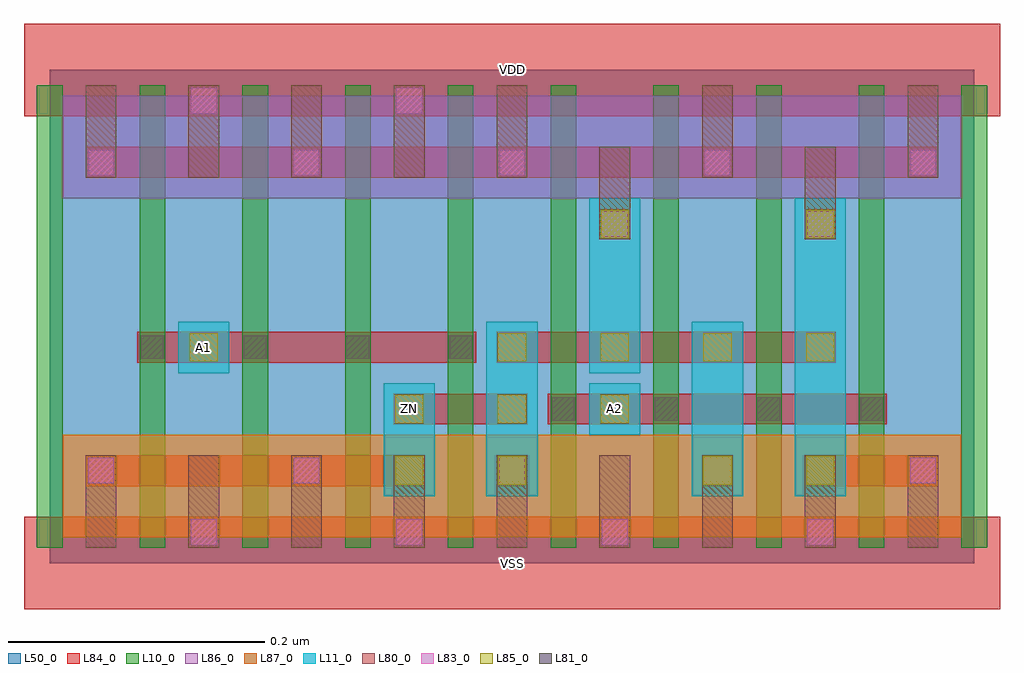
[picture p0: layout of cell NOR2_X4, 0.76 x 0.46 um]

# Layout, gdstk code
import gdstk
lib = gdstk.Library(unit=1e-6, precision=1e-09)
def R(c, l, rs):  # rectangles x0, y0, x1, y1
    for r in rs: c.add(gdstk.rectangle(r[:2], r[2:], *l))
def A(c, l, x, y, w, h, nx, ny, dx, dy):  # array of equal rectangles
    R(c, l, [(x+i*dx, y+j*dy, x+i*dx+w, y+j*dy+h) for i in range(nx) for j in range(ny)])
L10_0 = (10, 0)
L11_0 = (11, 0)
L50_0 = (50, 0)
L80_0 = (80, 0)
L81_0 = (81, 0)
L83_0 = (83, 0)
L84_0 = (84, 0)
L85_0 = (85, 0)
L86_0 = (86, 0)
L87_0 = (87, 0)

nor2_x4 = lib.new_cell('NOR2_X4')
A(nor2_x4, L10_0, -0.01, 0.012, 0.02, 0.36, 10, 1, 0.08, 0)
R(nor2_x4, L11_0, [(0.26,0.052,0.3,0.14), (0.34,0.052,0.38,0.188), (0.5,0.052,0.54,0.188), (0.58,0.052,0.62,0.284), (0.42,0.1,0.46,0.14), (0.1,0.148,0.14,0.188), (0.42,0.148,0.46,0.284)])
R(nor2_x4, L50_0, [(0,0,0.72,0.384)])
A(nor2_x4, L80_0, 0.028, 0.012, 0.024, 0.072, 9, 1, 0.08, 0)
A(nor2_x4, L80_0, 0.028, 0.3, 0.024, 0.072, 5, 1, 0.08, 0)
R(nor2_x4, L80_0, [(0.428,0.252,0.452,0.324), (0.588,0.252,0.612,0.324), (0.508,0.3,0.532,0.372), (0.668,0.3,0.692,0.372)])
A(nor2_x4, L81_0, 0.391, 0.111, 0.018, 0.018, 4, 1, 0.08, 0)
A(nor2_x4, L81_0, 0.071, 0.159, 0.018, 0.018, 4, 1, 0.08, 0)
A(nor2_x4, L83_0, 0.11, 0.014, 0.02, 0.02, 4, 1, 0.16, 0)
A(nor2_x4, L83_0, 0.03, 0.062, 0.02, 0.02, 5, 2, 0.16, 0.24)
R(nor2_x4, L83_0, [(0.43,0.254,0.45,0.274), (0.59,0.254,0.61,0.274), (0.11,0.35,0.13,0.37), (0.27,0.35,0.29,0.37)])
R(nor2_x4, L84_0, [(-0.02,-0.036,0.74,0.036), (0.028,0.06,0.292,0.084), (0.348,0.06,0.372,0.084), (0.508,0.06,0.532,0.084), (0.588,0.06,0.692,0.084), (0.268,0.108,0.372,0.132), (0.388,0.108,0.652,0.132), (0.068,0.156,0.332,0.18), (0.348,0.156,0.612,0.18), (0.428,0.252,0.452,0.276), (0.588,0.252,0.612,0.276), (0.028,0.3,0.692,0.324), (-0.02,0.348,0.74,0.42)])
A(nor2_x4, L85_0, 0.269, 0.109, 0.022, 0.022, 3, 1, 0.08, 0)
A(nor2_x4, L85_0, 0.349, 0.157, 0.022, 0.022, 4, 1, 0.08, 0)
R(nor2_x4, L85_0, [(0.269,0.061,0.291,0.083), (0.349,0.061,0.371,0.083), (0.509,0.061,0.531,0.083), (0.589,0.061,0.611,0.083), (0.109,0.157,0.131,0.179), (0.429,0.253,0.451,0.275), (0.589,0.253,0.611,0.275)])
R(nor2_x4, L86_0, [(0.01,0.284,0.71,0.364)])
R(nor2_x4, L87_0, [(0.01,0.02,0.71,0.1)])
nor2_x4.add(gdstk.Label('VDD', (0.36,0.384), layer=88, texttype=0))
nor2_x4.add(gdstk.Label('VSS', (0.36,0), layer=88, texttype=0))
nor2_x4.add(gdstk.Label('ZN', (0.28,0.12), layer=31, texttype=0))
nor2_x4.add(gdstk.Label('A2', (0.44,0.12), layer=31, texttype=0))
nor2_x4.add(gdstk.Label('A1', (0.12,0.168), layer=31, texttype=0))

lib.write_gds('NOR2_X4.gds')
